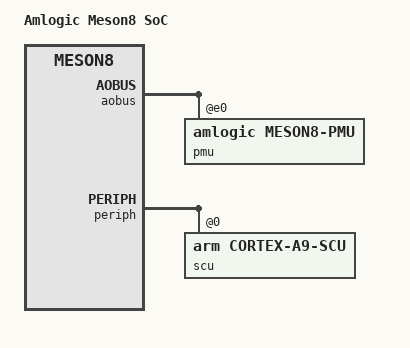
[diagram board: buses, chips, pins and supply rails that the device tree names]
// SPDX-License-Identifier: GPL-2.0 OR MIT
/*
 * Copyright 2014 Carlo Caione <carlo@caione.org>
 */

#include <dt-bindings/clock/meson8-ddr-clkc.h>
#include <dt-bindings/clock/meson8b-clkc.h>
#include <dt-bindings/gpio/meson8-gpio.h>
#include <dt-bindings/power/meson8-power.h>
#include <dt-bindings/reset/amlogic,meson8b-clkc-reset.h>
#include <dt-bindings/reset/amlogic,meson8b-reset.h>
#include <dt-bindings/thermal/thermal.h>
#include "meson.dtsi"

/ {
	model = "Amlogic Meson8 SoC";
	compatible = "amlogic,meson8";

	cpus {
		#address-cells = <1>;
		#size-cells = <0>;

		cpu0: cpu@200 {
			device_type = "cpu";
			compatible = "arm,cortex-a9";
			next-level-cache = <&L2>;
			reg = <0x200>;
			enable-method = "amlogic,meson8-smp";
			resets = <&clkc CLKC_RESET_CPU0_SOFT_RESET>;
			operating-points-v2 = <&cpu_opp_table>;
			clocks = <&clkc CLKID_CPUCLK>;
			#cooling-cells = <2>; /* min followed by max */
		};

		cpu1: cpu@201 {
			device_type = "cpu";
			compatible = "arm,cortex-a9";
			next-level-cache = <&L2>;
			reg = <0x201>;
			enable-method = "amlogic,meson8-smp";
			resets = <&clkc CLKC_RESET_CPU1_SOFT_RESET>;
			operating-points-v2 = <&cpu_opp_table>;
			clocks = <&clkc CLKID_CPUCLK>;
			#cooling-cells = <2>; /* min followed by max */
		};

		cpu2: cpu@202 {
			device_type = "cpu";
			compatible = "arm,cortex-a9";
			next-level-cache = <&L2>;
			reg = <0x202>;
			enable-method = "amlogic,meson8-smp";
			resets = <&clkc CLKC_RESET_CPU2_SOFT_RESET>;
			operating-points-v2 = <&cpu_opp_table>;
			clocks = <&clkc CLKID_CPUCLK>;
			#cooling-cells = <2>; /* min followed by max */
		};

		cpu3: cpu@203 {
			device_type = "cpu";
			compatible = "arm,cortex-a9";
			next-level-cache = <&L2>;
			reg = <0x203>;
			enable-method = "amlogic,meson8-smp";
			resets = <&clkc CLKC_RESET_CPU3_SOFT_RESET>;
			operating-points-v2 = <&cpu_opp_table>;
			clocks = <&clkc CLKID_CPUCLK>;
			#cooling-cells = <2>; /* min followed by max */
		};
	};

	cpu_opp_table: opp-table {
		compatible = "operating-points-v2";
		opp-shared;

		opp-96000000 {
			opp-hz = /bits/ 64 <96000000>;
			opp-microvolt = <825000>;
		};
		opp-192000000 {
			opp-hz = /bits/ 64 <192000000>;
			opp-microvolt = <825000>;
		};
		opp-312000000 {
			opp-hz = /bits/ 64 <312000000>;
			opp-microvolt = <825000>;
		};
		opp-408000000 {
			opp-hz = /bits/ 64 <408000000>;
			opp-microvolt = <825000>;
		};
		opp-504000000 {
			opp-hz = /bits/ 64 <504000000>;
			opp-microvolt = <825000>;
		};
		opp-600000000 {
			opp-hz = /bits/ 64 <600000000>;
			opp-microvolt = <850000>;
		};
		opp-720000000 {
			opp-hz = /bits/ 64 <720000000>;
			opp-microvolt = <850000>;
		};
		opp-816000000 {
			opp-hz = /bits/ 64 <816000000>;
			opp-microvolt = <875000>;
		};
		opp-1008000000 {
			opp-hz = /bits/ 64 <1008000000>;
			opp-microvolt = <925000>;
		};
		opp-1200000000 {
			opp-hz = /bits/ 64 <1200000000>;
			opp-microvolt = <975000>;
		};
		opp-1416000000 {
			opp-hz = /bits/ 64 <1416000000>;
			opp-microvolt = <1025000>;
		};
		opp-1608000000 {
			opp-hz = /bits/ 64 <1608000000>;
			opp-microvolt = <1100000>;
		};
		opp-1800000000 {
			status = "disabled";
			opp-hz = /bits/ 64 <1800000000>;
			opp-microvolt = <1125000>;
		};
		opp-1992000000 {
			status = "disabled";
			opp-hz = /bits/ 64 <1992000000>;
			opp-microvolt = <1150000>;
		};
	};

	gpu_opp_table: opp-table-gpu {
		compatible = "operating-points-v2";

		opp-182142857 {
			opp-hz = /bits/ 64 <182142857>;
			opp-microvolt = <1150000>;
		};
		opp-318750000 {
			opp-hz = /bits/ 64 <318750000>;
			opp-microvolt = <1150000>;
		};
		opp-425000000 {
			opp-hz = /bits/ 64 <425000000>;
			opp-microvolt = <1150000>;
		};
		opp-510000000 {
			opp-hz = /bits/ 64 <510000000>;
			opp-microvolt = <1150000>;
		};
		opp-637500000 {
			opp-hz = /bits/ 64 <637500000>;
			opp-microvolt = <1150000>;
			turbo-mode;
		};
	};

	pmu {
		compatible = "arm,cortex-a9-pmu";
		interrupts = <GIC_SPI 137 IRQ_TYPE_LEVEL_HIGH>,
			     <GIC_SPI 138 IRQ_TYPE_LEVEL_HIGH>,
			     <GIC_SPI 153 IRQ_TYPE_LEVEL_HIGH>,
			     <GIC_SPI 154 IRQ_TYPE_LEVEL_HIGH>;
		interrupt-affinity = <&cpu0>, <&cpu1>, <&cpu2>, <&cpu3>;
	};

	reserved-memory {
		#address-cells = <1>;
		#size-cells = <1>;
		ranges;

		/* 2 MiB reserved for Hardware ROM Firmware? */
		hwrom@0 {
			reg = <0x0 0x200000>;
			no-map;
		};

		/*
		 * 1 MiB reserved for the "ARM Power Firmware": this is ARM
		 * code which is responsible for system suspend. It loads a
		 * piece of ARC code ("arc_power" in the vendor u-boot tree)
		 * into SRAM, executes that and shuts down the (last) ARM core.
		 * The arc_power firmware then checks various wakeup sources
		 * (IR remote receiver, HDMI CEC, WIFI and Bluetooth wakeup or
		 * simply the power key) and re-starts the ARM core once it
		 * detects a wakeup request.
		 */
		power-firmware@4f00000 {
			reg = <0x4f00000 0x100000>;
			no-map;
		};
	};

	thermal-zones {
		soc {
			polling-delay-passive = <250>; /* milliseconds */
			polling-delay = <1000>; /* milliseconds */
			thermal-sensors = <&thermal_sensor>;

			cooling-maps {
				map0 {
					trip = <&soc_passive>;
					cooling-device = <&cpu0 THERMAL_NO_LIMIT THERMAL_NO_LIMIT>,
							 <&cpu1 THERMAL_NO_LIMIT THERMAL_NO_LIMIT>,
							 <&cpu2 THERMAL_NO_LIMIT THERMAL_NO_LIMIT>,
							 <&cpu3 THERMAL_NO_LIMIT THERMAL_NO_LIMIT>,
							 <&mali THERMAL_NO_LIMIT THERMAL_NO_LIMIT>;
				};

				map1 {
					trip = <&soc_hot>;
					cooling-device = <&cpu0 THERMAL_NO_LIMIT THERMAL_NO_LIMIT>,
							 <&cpu1 THERMAL_NO_LIMIT THERMAL_NO_LIMIT>,
							 <&cpu2 THERMAL_NO_LIMIT THERMAL_NO_LIMIT>,
							 <&cpu3 THERMAL_NO_LIMIT THERMAL_NO_LIMIT>,
							 <&mali THERMAL_NO_LIMIT THERMAL_NO_LIMIT>;
				};
			};

			trips {
				soc_passive: soc-passive {
					temperature = <80000>; /* millicelsius */
					hysteresis = <2000>; /* millicelsius */
					type = "passive";
				};

				soc_hot: soc-hot {
					temperature = <90000>; /* millicelsius */
					hysteresis = <2000>; /* millicelsius */
					type = "hot";
				};

				soc_critical: soc-critical {
					temperature = <110000>; /* millicelsius */
					hysteresis = <2000>; /* millicelsius */
					type = "critical";
				};
			};
		};
	};

	mmcbus: bus@c8000000 {
		compatible = "simple-bus";
		reg = <0xc8000000 0x8000>;
		#address-cells = <1>;
		#size-cells = <1>;
		ranges = <0x0 0xc8000000 0x8000>;

		ddr_clkc: clock-controller@400 {
			compatible = "amlogic,meson8-ddr-clkc";
			reg = <0x400 0x20>;
			clocks = <&xtal>;
			clock-names = "xtal";
			#clock-cells = <1>;
		};

		dmcbus: bus@6000 {
			compatible = "simple-bus";
			reg = <0x6000 0x400>;
			#address-cells = <1>;
			#size-cells = <1>;
			ranges = <0x0 0x6000 0x400>;

			canvas: video-lut@20 {
				compatible = "amlogic,meson8-canvas",
					     "amlogic,canvas";
				reg = <0x20 0x14>;
			};
		};
	};

	apb: bus@d0000000 {
		compatible = "simple-bus";
		reg = <0xd0000000 0x200000>;
		#address-cells = <1>;
		#size-cells = <1>;
		ranges = <0x0 0xd0000000 0x200000>;

		mali: gpu@c0000 {
			compatible = "amlogic,meson8-mali", "arm,mali-450";
			reg = <0xc0000 0x40000>;
			interrupts = <GIC_SPI 160 IRQ_TYPE_LEVEL_HIGH>,
				     <GIC_SPI 161 IRQ_TYPE_LEVEL_HIGH>,
				     <GIC_SPI 162 IRQ_TYPE_LEVEL_HIGH>,
				     <GIC_SPI 163 IRQ_TYPE_LEVEL_HIGH>,
				     <GIC_SPI 164 IRQ_TYPE_LEVEL_HIGH>,
				     <GIC_SPI 165 IRQ_TYPE_LEVEL_HIGH>,
				     <GIC_SPI 166 IRQ_TYPE_LEVEL_HIGH>,
				     <GIC_SPI 167 IRQ_TYPE_LEVEL_HIGH>,
				     <GIC_SPI 168 IRQ_TYPE_LEVEL_HIGH>,
				     <GIC_SPI 169 IRQ_TYPE_LEVEL_HIGH>,
				     <GIC_SPI 172 IRQ_TYPE_LEVEL_HIGH>,
				     <GIC_SPI 173 IRQ_TYPE_LEVEL_HIGH>,
				     <GIC_SPI 174 IRQ_TYPE_LEVEL_HIGH>,
				     <GIC_SPI 175 IRQ_TYPE_LEVEL_HIGH>,
				     <GIC_SPI 176 IRQ_TYPE_LEVEL_HIGH>,
				     <GIC_SPI 177 IRQ_TYPE_LEVEL_HIGH>;
			interrupt-names = "gp", "gpmmu", "pp", "pmu",
					  "pp0", "ppmmu0", "pp1", "ppmmu1",
					  "pp2", "ppmmu2", "pp4", "ppmmu4",
					  "pp5", "ppmmu5", "pp6", "ppmmu6";
			resets = <&reset RESET_MALI>;

			clocks = <&clkc CLKID_CLK81>, <&clkc CLKID_MALI>;
			clock-names = "bus", "core";

			assigned-clocks = <&clkc CLKID_MALI>;
			assigned-clock-rates = <318750000>;

			operating-points-v2 = <&gpu_opp_table>;
			#cooling-cells = <2>; /* min followed by max */
		};
	};
}; /* end of / */

&aiu {
	compatible = "amlogic,aiu-meson8", "amlogic,aiu";
	clocks = <&clkc CLKID_AIU_GLUE>,
		 <&clkc CLKID_I2S_OUT>,
		 <&clkc CLKID_AOCLK_GATE>,
		 <&clkc CLKID_CTS_AMCLK>,
		 <&clkc CLKID_MIXER_IFACE>,
		 <&clkc CLKID_IEC958>,
		 <&clkc CLKID_IEC958_GATE>,
		 <&clkc CLKID_CTS_MCLK_I958>,
		 <&clkc CLKID_CTS_I958>;
	clock-names = "pclk",
		      "i2s_pclk",
		      "i2s_aoclk",
		      "i2s_mclk",
		      "i2s_mixer",
		      "spdif_pclk",
		      "spdif_aoclk",
		      "spdif_mclk",
		      "spdif_mclk_sel";
	resets = <&reset RESET_AIU>;
};

&aobus {
	pmu: pmu@e0 {
		compatible = "amlogic,meson8-pmu", "syscon";
		reg = <0xe0 0x18>;
	};

	pinctrl_aobus: pinctrl@84 {
		compatible = "amlogic,meson8-aobus-pinctrl";
		reg = <0x84 0xc>;
		#address-cells = <1>;
		#size-cells = <1>;
		ranges;

		gpio_ao: ao-bank@14 {
			reg = <0x14 0x4>,
			      <0x2c 0x4>,
			      <0x24 0x8>;
			reg-names = "mux", "pull", "gpio";
			gpio-controller;
			#gpio-cells = <2>;
			gpio-ranges = <&pinctrl_aobus 0 0 16>;
		};

		i2s_am_clk_pins: i2s-am-clk-out {
			mux {
				groups = "i2s_am_clk_out_ao";
				function = "i2s_ao";
				bias-disable;
			};
		};

		i2s_out_ao_clk_pins: i2s-ao-clk-out {
			mux {
				groups = "i2s_ao_clk_out_ao";
				function = "i2s_ao";
				bias-disable;
			};
		};

		i2s_out_lr_clk_pins: i2s-lr-clk-out {
			mux {
				groups = "i2s_lr_clk_out_ao";
				function = "i2s_ao";
				bias-disable;
			};
		};

		i2s_out_ch01_ao_pins: i2s-out-ch01 {
			mux {
				groups = "i2s_out_ch01_ao";
				function = "i2s_ao";
				bias-disable;
			};
		};

		uart_ao_a_pins: uart_ao_a {
			mux {
				groups = "uart_tx_ao_a", "uart_rx_ao_a";
				function = "uart_ao";
				bias-disable;
			};
		};

		i2c_ao_pins: i2c_mst_ao {
			mux {
				groups = "i2c_mst_sck_ao", "i2c_mst_sda_ao";
				function = "i2c_mst_ao";
				bias-disable;
			};
		};

		ir_recv_pins: remote {
			mux {
				groups = "remote_input";
				function = "remote";
				bias-disable;
			};
		};

		pwm_f_ao_pins: pwm-f-ao {
			mux {
				groups = "pwm_f_ao";
				function = "pwm_f_ao";
				bias-disable;
			};
		};
	};
};

&ao_arc_rproc {
	compatible = "amlogic,meson8-ao-arc", "amlogic,meson-mx-ao-arc";
	amlogic,secbus2 = <&secbus2>;
	sram = <&ao_arc_sram>;
	resets = <&reset RESET_MEDIA_CPU>;
	clocks = <&clkc CLKID_AO_MEDIA_CPU>;
};

&cbus {
	reset: reset-controller@4404 {
		compatible = "amlogic,meson8b-reset";
		reg = <0x4404 0x9c>;
		#reset-cells = <1>;
	};

	analog_top: analog-top@81a8 {
		compatible = "amlogic,meson8-analog-top", "syscon";
		reg = <0x81a8 0x14>;
	};

	pwm_ef: pwm@86c0 {
		compatible = "amlogic,meson8-pwm", "amlogic,meson8b-pwm";
		reg = <0x86c0 0x10>;
		#pwm-cells = <3>;
		status = "disabled";
	};

	clock-measure@8758 {
		compatible = "amlogic,meson8-clk-measure";
		reg = <0x8758 0x1c>;
	};

	pinctrl_cbus: pinctrl@9880 {
		compatible = "amlogic,meson8-cbus-pinctrl";
		reg = <0x9880 0x10>;
		#address-cells = <1>;
		#size-cells = <1>;
		ranges;

		gpio: banks@80b0 {
			reg = <0x80b0 0x28>,
			      <0x80e8 0x18>,
			      <0x8120 0x18>,
			      <0x8030 0x30>;
			reg-names = "mux", "pull", "pull-enable", "gpio";
			gpio-controller;
			#gpio-cells = <2>;
			gpio-ranges = <&pinctrl_cbus 0 0 120>;
		};

		sd_a_pins: sd-a {
			mux {
				groups = "sd_d0_a", "sd_d1_a", "sd_d2_a",
					"sd_d3_a", "sd_clk_a", "sd_cmd_a";
				function = "sd_a";
				bias-disable;
			};
		};

		sd_b_pins: sd-b {
			mux {
				groups = "sd_d0_b", "sd_d1_b", "sd_d2_b",
					"sd_d3_b", "sd_clk_b", "sd_cmd_b";
				function = "sd_b";
				bias-disable;
			};
		};

		sd_c_pins: sd-c {
			mux {
				groups = "sd_d0_c", "sd_d1_c", "sd_d2_c",
					"sd_d3_c", "sd_clk_c", "sd_cmd_c";
				function = "sd_c";
				bias-disable;
			};
		};

		sdxc_a_pins: sdxc-a {
			mux {
				groups = "sdxc_d0_a", "sdxc_d13_a",
					 "sdxc_clk_a", "sdxc_cmd_a";
				function = "sdxc_a";
				bias-pull-up;
			};
		};

		sdxc_b_pins: sdxc-b {
			mux {
				groups = "sdxc_d0_b", "sdxc_d13_b",
					 "sdxc_clk_b", "sdxc_cmd_b";
				function = "sdxc_b";
				bias-pull-up;
			};
		};

		spdif_out_pins: spdif-out {
			mux {
				groups = "spdif_out";
				function = "spdif";
				bias-disable;
			};
		};

		spi_nor_pins: nor {
			mux {
				groups = "nor_d", "nor_q", "nor_c", "nor_cs";
				function = "nor";
				bias-disable;
			};
		};

		eth_pins: ethernet {
			mux {
				groups = "eth_tx_clk_50m", "eth_tx_en",
					 "eth_txd1", "eth_txd0",
					 "eth_rx_clk_in", "eth_rx_dv",
					 "eth_rxd1", "eth_rxd0", "eth_mdio",
					 "eth_mdc";
				function = "ethernet";
				bias-disable;
			};
		};

		pwm_e_pins: pwm-e {
			mux {
				groups = "pwm_e";
				function = "pwm_e";
				bias-disable;
			};
		};

		uart_a1_pins: uart-a1 {
			mux {
				groups = "uart_tx_a1",
				       "uart_rx_a1";
				function = "uart_a";
				bias-disable;
			};
		};

		uart_a1_cts_rts_pins: uart-a1-cts-rts {
			mux {
				groups = "uart_cts_a1",
				       "uart_rts_a1";
				function = "uart_a";
				bias-disable;
			};
		};

		xtal_32k_out_pins: xtal-32k-out {
			mux {
				groups = "xtal_32k_out";
				function = "xtal";
				bias-disable;
			};
		};
	};
};

&ahb_sram {
	ao_arc_sram: ao-arc-sram@0 {
		compatible = "amlogic,meson8-ao-arc-sram";
		reg = <0x0 0x8000>;
		pool;
	};

	smp-sram@1ff80 {
		compatible = "amlogic,meson8-smp-sram";
		reg = <0x1ff80 0x8>;
	};
};

&efuse {
	compatible = "amlogic,meson8-efuse";
	clocks = <&clkc CLKID_EFUSE>;
	clock-names = "core";

	temperature_calib: calib@1f4 {
		/* only the upper two bytes are relevant */
		reg = <0x1f4 0x4>;
	};
};

&ethmac {
	clocks = <&clkc CLKID_ETH>;
	clock-names = "stmmaceth";

	power-domains = <&pwrc PWRC_MESON8_ETHERNET_MEM_ID>;
};

&gpio_intc {
	compatible = "amlogic,meson8-gpio-intc", "amlogic,meson-gpio-intc";
	status = "okay";
};

&hhi {
	clkc: clock-controller {
		compatible = "amlogic,meson8-clkc";
		clocks = <&xtal>, <&ddr_clkc DDR_CLKID_DDR_PLL>;
		clock-names = "xtal", "ddr_pll";
		#clock-cells = <1>;
		#reset-cells = <1>;
	};

	pwrc: power-controller {
		compatible = "amlogic,meson8-pwrc";
		#power-domain-cells = <1>;
		amlogic,ao-sysctrl = <&pmu>;
		clocks = <&clkc CLKID_VPU>;
		clock-names = "vpu";
		assigned-clocks = <&clkc CLKID_VPU>;
		assigned-clock-rates = <364285714>;
	};
};

&hwrng {
	clocks = <&clkc CLKID_RNG0>;
	clock-names = "core";
};

&i2c_AO {
	clocks = <&clkc CLKID_CLK81>;
};

&i2c_A {
	clocks = <&clkc CLKID_CLK81>;
};

&i2c_B {
	clocks = <&clkc CLKID_CLK81>;
};

&L2 {
	arm,data-latency = <3 3 3>;
	arm,tag-latency = <2 2 2>;
	arm,filter-ranges = <0x100000 0xc0000000>;
	prefetch-data = <1>;
	prefetch-instr = <1>;
	arm,prefetch-offset = <7>;
	arm,double-linefill = <1>;
	arm,prefetch-drop = <1>;
	arm,shared-override;
};

&periph {
	scu@0 {
		compatible = "arm,cortex-a9-scu";
		reg = <0x0 0x100>;
	};

	timer@200 {
		compatible = "arm,cortex-a9-global-timer";
		reg = <0x200 0x20>;
		interrupts = <GIC_PPI 11 (GIC_CPU_MASK_SIMPLE(4) | IRQ_TYPE_EDGE_RISING)>;
		clocks = <&clkc CLKID_PERIPH>;

		/*
		 * the arm_global_timer driver currently does not handle clock
		 * rate changes. Keep it disabled for now.
		 */
		status = "disabled";
	};

	timer@600 {
		compatible = "arm,cortex-a9-twd-timer";
		reg = <0x600 0x20>;
		interrupts = <GIC_PPI 13 (GIC_CPU_MASK_SIMPLE(4) | IRQ_TYPE_EDGE_RISING)>;
		clocks = <&clkc CLKID_PERIPH>;
	};
};

&pwm_ab {
	compatible = "amlogic,meson8-pwm", "amlogic,meson8b-pwm";
};

&pwm_cd {
	compatible = "amlogic,meson8-pwm", "amlogic,meson8b-pwm";
};

&rtc {
	compatible = "amlogic,meson8-rtc";
	resets = <&reset RESET_RTC>;
};

&saradc {
	compatible = "amlogic,meson8-saradc", "amlogic,meson-saradc";
	clocks = <&xtal>, <&clkc CLKID_SAR_ADC>;
	clock-names = "clkin", "core";
	amlogic,hhi-sysctrl = <&hhi>;
	nvmem-cells = <&temperature_calib>;
	nvmem-cell-names = "temperature_calib";
};

&sdhc {
	compatible = "amlogic,meson8-sdhc", "amlogic,meson-mx-sdhc";
	clocks = <&xtal>,
		 <&clkc CLKID_FCLK_DIV4>,
		 <&clkc CLKID_FCLK_DIV3>,
		 <&clkc CLKID_FCLK_DIV5>,
		 <&clkc CLKID_SDHC>;
	clock-names = "clkin0", "clkin1", "clkin2", "clkin3", "pclk";
};

&secbus {
	secbus2: system-controller@4000 {
		compatible = "amlogic,meson8-secbus2", "syscon";
		reg = <0x4000 0x2000>;
	};
};

&sdio {
	compatible = "amlogic,meson8-sdio", "amlogic,meson-mx-sdio";
	clocks = <&clkc CLKID_SDIO>, <&clkc CLKID_CLK81>;
	clock-names = "core", "clkin";
};

&spifc {
	clocks = <&clkc CLKID_CLK81>;
};

&timer_abcde {
	clocks = <&xtal>, <&clkc CLKID_CLK81>;
	clock-names = "xtal", "pclk";
};

&uart_AO {
	compatible = "amlogic,meson8-uart", "amlogic,meson-ao-uart";
	clocks = <&xtal>, <&clkc CLKID_CLK81>, <&clkc CLKID_CLK81>;
	clock-names = "xtal", "pclk", "baud";
};

&uart_A {
	compatible = "amlogic,meson8-uart";
	clocks = <&xtal>, <&clkc CLKID_UART0>, <&clkc CLKID_CLK81>;
	clock-names = "xtal", "pclk", "baud";
};

&uart_B {
	compatible = "amlogic,meson8-uart";
	clocks = <&xtal>, <&clkc CLKID_UART1>, <&clkc CLKID_CLK81>;
	clock-names = "xtal", "pclk", "baud";
};

&uart_C {
	compatible = "amlogic,meson8-uart";
	clocks = <&xtal>, <&clkc CLKID_UART2>, <&clkc CLKID_CLK81>;
	clock-names = "xtal", "pclk", "baud";
};

&usb0 {
	compatible = "amlogic,meson8-usb", "snps,dwc2";
	clocks = <&clkc CLKID_USB0_DDR_BRIDGE>;
	clock-names = "otg";
};

&usb1 {
	compatible = "amlogic,meson8-usb", "snps,dwc2";
	clocks = <&clkc CLKID_USB1_DDR_BRIDGE>;
	clock-names = "otg";
};

&usb0_phy {
	compatible = "amlogic,meson8-usb2-phy", "amlogic,meson-mx-usb2-phy";
	clocks = <&clkc CLKID_USB>, <&clkc CLKID_USB0>;
	clock-names = "usb_general", "usb";
	resets = <&reset RESET_USB_OTG>;
};

&usb1_phy {
	compatible = "amlogic,meson8-usb2-phy", "amlogic,meson-mx-usb2-phy";
	clocks = <&clkc CLKID_USB>, <&clkc CLKID_USB1>;
	clock-names = "usb_general", "usb";
	resets = <&reset RESET_USB_OTG>;
};
